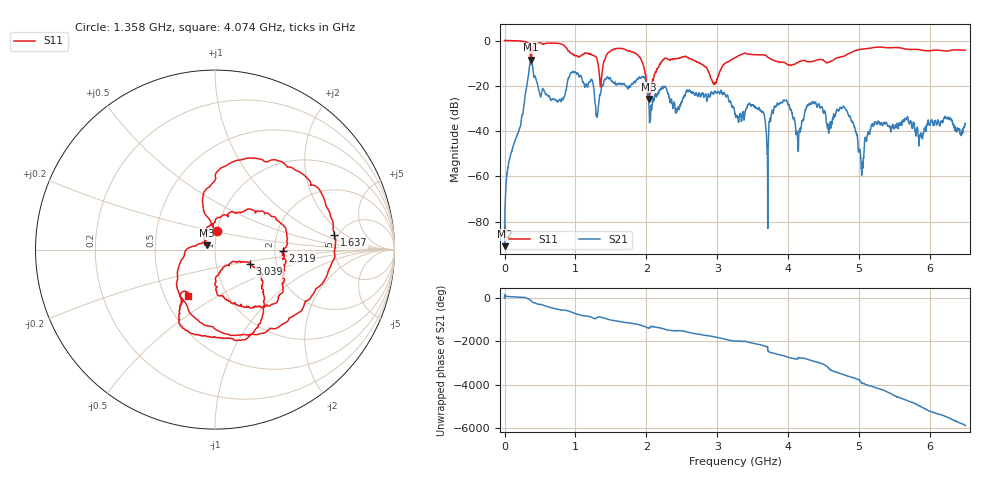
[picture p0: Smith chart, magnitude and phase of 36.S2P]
!Keysight Technologies,E5063A,MY54503115,A.05.08
!Date: Mon Dec 11 14:07:12 2023
!Data & Calibration Information:
!Freq	S11:NONE(--)	S21:NONE(--)	S12:NONE(--)	S22:NONE(--)
# Hz S dB R 50
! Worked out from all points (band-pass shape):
!   10001 points, 100 kHz to 6.5 GHz, reference 50 ohm
!   highest |S21| = -8.40 dB at 375.8 MHz (marker M1); lowest = -90.9 dB at 2.05 MHz (marker M2)
!   |S21| within 3 dB of the highest: 352.3 MHz to 394.7 MHz (42.41 MHz wide, 11.4 % of centre)
!   lowest |S11| = -25.8 dB at 2.036 GHz (marker M3), VSWR 1.11, Z = 45.6 + j2.24 ohm
!   |S11| at or under -10 dB: 1.949 GHz to 2.202 GHz (253.9 MHz wide, 12.2 % of centre); 2.761 GHz to 3.112 GHz (351.9 MHz wide, 12 % of centre); 3.965 GHz to 4.111 GHz (146.7 MHz wide, 3.63 % of centre) (the widest 3 of 7)
!   S12 and S22 are empty: the file has one direction only
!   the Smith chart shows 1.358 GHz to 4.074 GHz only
!   S11 on the Smith chart (normalised r, x): 1.358 GHz: 1.00, +0.21; 1.637 GHz: 4.66, +1.34; 2.319 GHz: 2.22, -0.04; 3.039 GHz: 1.46, -0.25; 4.074 GHz: 0.66, -0.38
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100000  0.05 -0.6  -82.03 66.7  -200.00 0.0  -200.00 0.0
2049970  0.00 -0.9  -90.86 166.9  -200.00 0.0  -200.00 0.0
2.308464e8  -0.21 -76.7  -36.40 49.7  -200.00 0.0  -200.00 0.0
3.757942e8  -9.97 -106.6  -8.40 -133.1  -200.00 0.0  -200.00 0.0
6.000408e8  -1.19 158.5  -24.04 -26.8  -200.00 0.0  -200.00 0.0
7.423886e8  -1.22 89.1  -26.72 -154.0  -200.00 0.0  -200.00 0.0
8.561368e8  -2.78 14.0  -23.05 163.5  -200.00 0.0  -200.00 0.0
9.73135e8  -6.52 -79.4  -13.93 31.7  -200.00 0.0  -200.00 0.0
1.083633e9  -6.58 178.8  -16.08 -79.1  -200.00 0.0  -200.00 0.0
1.357929e9  -19.82 83.8  -22.54 -160.8  -200.00 0.0  -200.00 0.0
1.636775e9  -3.48 6.8  -18.88 -8.6  -200.00 0.0  -200.00 0.0
2.035869e9  -25.77 151.6  -28.39 52.9  -200.00 0.0  -200.00 0.0
2.167167e9  -11.92 55.2  -23.31 75.3  -200.00 0.0  -200.00 0.0
2.318614e9  -8.44 -1.1  -24.65 -48.6  -200.00 0.0  -200.00 0.0
3.038803e9  -13.48 -22.2  -23.09 -40.7  -200.00 0.0  -200.00 0.0
3.25005e9  -7.54 -49.3  -32.37 170.5  -200.00 0.0  -200.00 0.0
4.073587e9  -10.45 -119.7  -34.65 93.0  -200.00 0.0  -200.00 0.0
4.333583e9  -9.28 -128.0  -27.37 -6.4  -200.00 0.0  -200.00 0.0
4.804176e9  -6.70 -137.7  -30.12 32.9  -200.00 0.0  -200.00 0.0
5.038822e9  -3.75 -160.9  -58.25 49.0  -200.00 0.0  -200.00 0.0
5.417117e9  -3.19 162.9  -37.61 -47.8  -200.00 0.0  -200.00 0.0
6.5e9  -4.18 109.7  -36.58 -128.4  -200.00 0.0  -200.00 0.0
